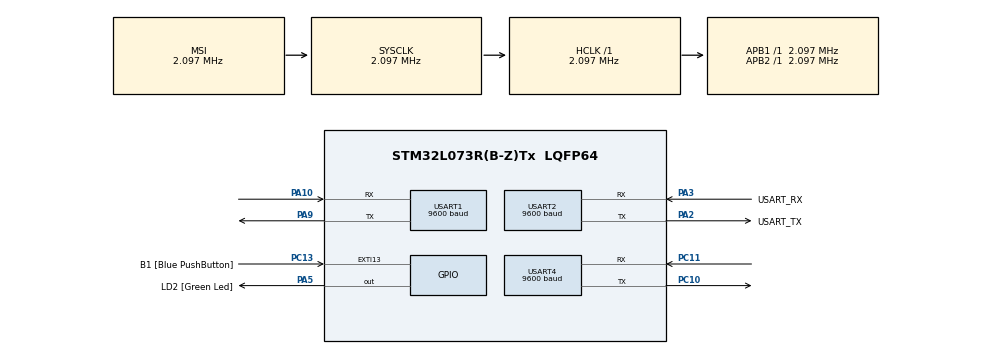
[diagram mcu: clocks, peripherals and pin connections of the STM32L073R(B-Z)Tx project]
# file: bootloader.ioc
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Mcu.Family=STM32L0
Mcu.Name=STM32L073R(B-Z)Tx
Mcu.Package=LQFP64
PA10.Mode=Asynchronous
PA10.Signal=USART1_RX
PA13.GPIO_Label=TMS
PA13.Mode=Serial_Wire
PA13.Signal=SYS_SWDIO
PA14.GPIO_Label=TCK
PA14.Mode=Serial_Wire
PA14.Signal=SYS_SWCLK
PA2.GPIO_Label=USART_TX
PA2.Mode=Asynchronous
PA2.Signal=USART2_TX
PA3.GPIO_Label=USART_RX
PA3.Mode=Asynchronous
PA3.Signal=USART2_RX
PA5.GPIO_Label=LD2 [Green Led]
PA5.Signal=GPIO_Output
PA9.Mode=Asynchronous
PA9.Signal=USART1_TX
PC10.Mode=Asynchronous
PC10.Signal=USART4_TX
PC11.Mode=Asynchronous
PC11.Signal=USART4_RX
PC13.GPIO_Label=B1 [Blue PushButton]
PC13.GPIO_ModeDefaultEXTI=GPIO_MODE_IT_FALLING
PC13.Signal=GPXTI13
PC14-OSC32_IN.Mode=LSE-External-Oscillator
PC14-OSC32_IN.Signal=RCC_OSC32_IN
PC15-OSC32_OUT.Mode=LSE-External-Oscillator
PC15-OSC32_OUT.Signal=RCC_OSC32_OUT
PH0-OSC_IN.GPIO_Label=MCO
PH0-OSC_IN.Mode=HSE-External-Clock-Source
PH0-OSC_IN.Signal=RCC_OSC_IN
ProjectManager.HeapSize=0x200
ProjectManager.StackSize=0x400
ProjectManager.TargetToolchain=STM32CubeIDE
RCC.AHBFreq_Value=2097000
RCC.APB1Freq_Value=2097000
RCC.APB1TimFreq_Value=2097000
RCC.APB2Freq_Value=2097000
RCC.APB2TimFreq_Value=2097000
RCC.HSE_VALUE=8000000
RCC.HSI16_VALUE=16000000
RCC.HSI48_VALUE=48000000
RCC.HSI_VALUE=16000000
RCC.MSI_VALUE=2097000
RCC.SYSCLKFreq_VALUE=2097000
RCC.VCOOutputFreq_Value=48000000
USART1.BaudRate=9600
USART1.VirtualMode-Asynchronous=VM_ASYNC
USART2.BaudRate=9600
USART2.VirtualMode-Asynchronous=VM_ASYNC
USART4.BaudRate=9600
USART4.VirtualMode-Asynchronous=VM_ASYNC
board=NUCLEO-L073RZ

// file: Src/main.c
/* USER CODE BEGIN Header */
/**
  ******************************************************************************
  * @file           : main.c
  * @brief          : Main program body
  ******************************************************************************
  * @attention
  *
  * Copyright (c) 2022 STMicroelectronics.
  * All rights reserved.
  *
  * This software is licensed under terms that can be found in the LICENSE file
  * in the root directory of this software component.
  * If no LICENSE file comes with this software, it is provided AS-IS.
  *
  ******************************************************************************
  */
/* USER CODE END Header */
#include "main.h"
#include "usart.h"
#include "gpio.h"
#include "stdio.h"

/* USER CODE BEGIN Includes */
/* Variable statique */
/* USER CODE END Includes */

/* USER CODE BEGIN PM */
#define MAJOR 0 //Major Version Number //ajout bootloader jump
#define MINOR 1 //Minor Version Number //ajout bootloader jump
/* USER CODE END PM */

/* USER CODE BEGIN PV */
const uint8_t BL_Version[2] = {MAJOR, MINOR};
/* USER CODE END PV */

void SystemClock_Config(void);
/* USER CODE BEGIN PFP */
static void goto_application(void);
/* USER CODE END PFP */

int main(void)
{

  /* MCU Configuration--------------------------------------------------------*/

  /* Reset of all peripherals, Initializes the Flash interface and the Systick. */
  HAL_Init();

  /* Configure the system clock */
  SystemClock_Config();

  /* Initialize all configured peripherals */
  MX_GPIO_Init();
  MX_USART1_UART_Init();
  MX_USART2_UART_Init();
  MX_USART4_UART_Init();
  /* USER CODE BEGIN 2 */
   /*AJOUT CODE*/
  printf("Starting Bootloader (%d.%d)\n ", BL_Version[0],BL_Version[1]);
  HAL_GPIO_WritePin( GPIOA, GPIO_PIN_5, GPIO_PIN_SET); //Green LED ON
  HAL_Delay(3000); //9 Seconds Delay
  goto_application();

    /*FIN AJOUT CODE*/
  /* USER CODE END 2 */

  /* Infinite loop */
  while (1)
  {

  }
}

void SystemClock_Config(void)
{
  RCC_OscInitTypeDef RCC_OscInitStruct = {0};
  RCC_ClkInitTypeDef RCC_ClkInitStruct = {0};
  RCC_PeriphCLKInitTypeDef PeriphClkInit = {0};

  /** Configure the main internal regulator output voltage
  */
  __HAL_PWR_VOLTAGESCALING_CONFIG(PWR_REGULATOR_VOLTAGE_SCALE1);
  /** Initializes the RCC Oscillators according to the specified parameters
  * in the RCC_OscInitTypeDef structure.
  */
  RCC_OscInitStruct.OscillatorType = RCC_OSCILLATORTYPE_MSI;
  RCC_OscInitStruct.MSIState = RCC_MSI_ON;
  RCC_OscInitStruct.MSICalibrationValue = 0;
  RCC_OscInitStruct.MSIClockRange = RCC_MSIRANGE_5;
  RCC_OscInitStruct.PLL.PLLState = RCC_PLL_NONE;
  if (HAL_RCC_OscConfig(&RCC_OscInitStruct) != HAL_OK)
  {
    Error_Handler();
  }
  /** Initializes the CPU, AHB and APB buses clocks
  */
  RCC_ClkInitStruct.ClockType = RCC_CLOCKTYPE_HCLK|RCC_CLOCKTYPE_SYSCLK
                              |RCC_CLOCKTYPE_PCLK1|RCC_CLOCKTYPE_PCLK2;
  RCC_ClkInitStruct.SYSCLKSource = RCC_SYSCLKSOURCE_MSI;
  RCC_ClkInitStruct.AHBCLKDivider = RCC_SYSCLK_DIV1;
  RCC_ClkInitStruct.APB1CLKDivider = RCC_HCLK_DIV1;
  RCC_ClkInitStruct.APB2CLKDivider = RCC_HCLK_DIV1;

  if (HAL_RCC_ClockConfig(&RCC_ClkInitStruct, FLASH_LATENCY_0) != HAL_OK)
  {
    Error_Handler();
  }
  PeriphClkInit.PeriphClockSelection = RCC_PERIPHCLK_USART1|RCC_PERIPHCLK_USART2;
  PeriphClkInit.Usart1ClockSelection = RCC_USART1CLKSOURCE_PCLK2;
  PeriphClkInit.Usart2ClockSelection = RCC_USART2CLKSOURCE_PCLK1;
  if (HAL_RCCEx_PeriphCLKConfig(&PeriphClkInit) != HAL_OK)
  {
    Error_Handler();
  }
}

/* USER CODE BEGIN 4 */
/************************************************************************/
/**
 * @brief Print the characters to UART (printf)
 * @retval int
 */
#ifdef __GNUC__
/*with GCC small printf (option LD Linket->Library->Small printf set to 'Yes')
 * calls __io_putchar */
int __io_putchar(int ch)
#else
int fputc(int ch, FILE *f)
#endif /*__GNUC__*/
{
	/*Pace your implementation of fputc here*/
	/* e.g. write a character to the UART1 and loop until the end of transmission*/
	HAL_UART_Transmit(&huart1, (uint8_t *) &ch, 1, HAL_MAX_DELAY);

	//HAL_UART_Transmit(&huart1, (uint8_t *)rxBuffer, strlen(rxBuffer), 500);

	return ch;
}

static void goto_application(void)
{
  printf("Gonna Jump to Application\n");
  HAL_Delay(2000);
  printf("calling application\n");
  HAL_Delay(2000);
 // void (*app_reset_handler) (void) = (void*) (*(volatile uint32_t *) (0x08000000 + 4));
    void (*app_reset_handler) (void) = (void(*) (void)) (*(volatile uint32_t *) (0x08020000 + 4));
  //so they have to write stack address manually using the __set_MSP function
  //other startp_stm32l073rztx.s l62 reset handle sp (stack pointer)

  __set_MSP( ( *(volatile uint32_t *) 0x08000000) );

  HAL_GPIO_WritePin( GPIOA, GPIO_PIN_5, GPIO_PIN_RESET); //Green LED OFF

  //Let's call the application's reset handler using this function pointer
  app_reset_handler();//call the app reset handler
}

/************************************************************************/
/* USER CODE END 4 */

void Error_Handler(void)
{
  __disable_irq();
  while (1)
  {
  }
}
